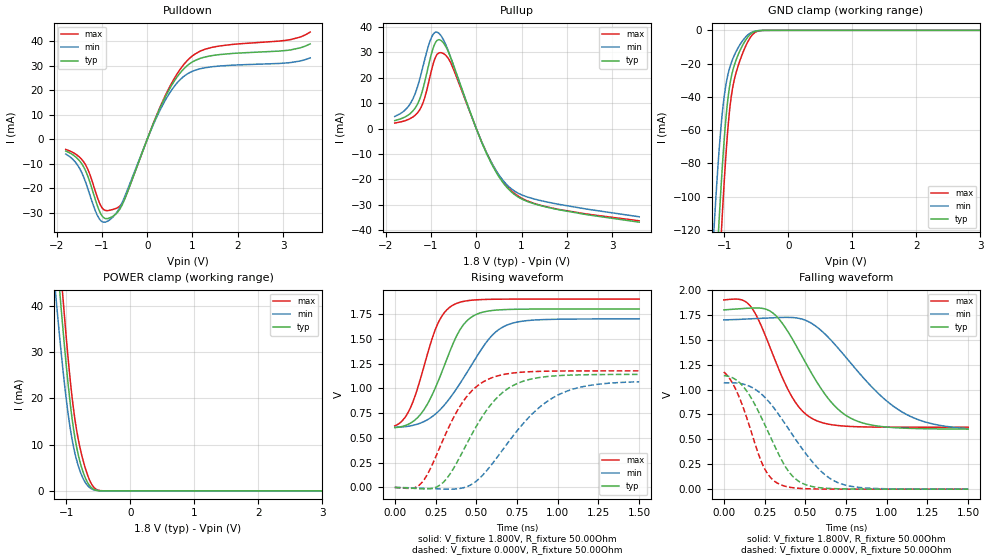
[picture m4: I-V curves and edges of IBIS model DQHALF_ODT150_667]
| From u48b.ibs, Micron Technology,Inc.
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|MODEL DQHALF_ODT150_667 (Reduced-Drv IO Drvr with 150-ohm ODT Submodel,667)
[Model]   DQHALF_ODT150_667
Model_type   I/O
Vinl = 700.000mV
Vinh = 1.10V
Vmeas = 900.000mV
Vref = 900.000mV
Cref = 0.0pF
Rref = 25.000Ohm
|   typ   min   max
C_comp   3.09pF   2.91pF   3.33pF
| Note: C_comp decreases when the ODT circuit is enabled.
[Model Spec]
| Input threshold voltage corners
Vinl   0.70V   0.650V   0.750V
Vinh   1.10V   1.05V   1.150V
| Measurement voltage corners
Vmeas   0.900V   0.850V   0.950V
| Timing spec test load voltage corners
Vref   0.900V   0.850V   0.950V
[Receiver Thresholds]
Vth   =  0.900V
Vth_min  =  0.882V
Vth_max  =  0.918V
Vinh_ac  =  0.200V
Vinh_dc  =  0.125V
Vinl_ac  = -0.200V
Vinl_dc  = -0.125V
Tslew_ac =  5.000ns |Not specified, so set to high value
Threshold_sensitivity = 0.50
Reference_supply Pullup_ref
[Voltage Range]   1.800V   1.700V   1.900V
[Pullup Reference]   1.800V   1.700V   1.900V
| Junction Temperature (Ambient temp is 25C typ, 85C min, 0C max)
[Temperature Range]   40.0   100.0   0.0
[Add Submodel]
| Submodel Name   Mode
150ohm_ODT_667   Non-Driving
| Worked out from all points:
|   slope of the pulldown table from 0 to 0.27 V, typ, clamps not added: 22 ohm
|   slope of the pullup table from 0 to 0.27 V, typ, clamps not added: 23.7 ohm
|   GND clamp passes 1 mA (typ) near -0.54 V on its own axis
|   POWER clamp passes 1 mA (typ) near -0.63 V on its own axis
|   falling waveform, V_fixture 1.800V, R_fixture 50.00Ohm: 20-80 % time 275ps typ, 381ps min, 209ps max; typ from 1.8 V to 0.603 V
|   rising waveform, V_fixture 1.800V, R_fixture 50.00Ohm: 20-80 % time 189ps typ, 269ps min, 148ps max; typ from 0.603 V to 1.8 V
|   rising waveform, V_fixture 0.000V, R_fixture 50.00Ohm: 20-80 % time 259ps typ, 337ps min, 223ps max; typ from 0 V to 1.14 V
|   falling waveform, V_fixture 0.000V, R_fixture 50.00Ohm: 20-80 % time 208ps typ, 287ps min, 151ps max; typ from 1.14 V to 0 V
[Pulldown]
|   Voltage   I(typ)   I(min)   I(max)
-1.8V     -4.83mA    -6.06mA    -4.162mA
-1.565V   -7.504mA   -9.892mA   -6.301mA
-1.385V   -12.01mA   -16.39mA   -9.793mA
-1.05V    -29.61mA   -32.78mA   -26.27mA
-935mV    -32.38mA   -33.93mA   -29.07mA
-790mV    -31.85mA   -32.39mA   -28.89mA
-510mV    -25.06mA   -24.06mA   -24.73mA
375mV     16.39mA    15.14mA    16.89mA
885mV     30.12mA    26.7mA     32.19mA
1.425V    34.19mA    29.63mA    37.55mA
3.095V    36.36mA    31.22mA    40.53mA
3.6V      39mA       33.26mA    43.82mA
[GND Clamp]
|   Voltage   I(typ)   I(min)   I(max)
-1.8V     -732.2mA   -643.1mA   -793.5mA
-1.16V    -171.3mA   -118.1mA   -209.8mA
-1.085V   -116.2mA   -73.6mA    -149.7mA
-1.045V   -89.91mA   -54.84mA   -120mA
-1.035V   -83.83mA   -50.82mA   -112.9mA
-970mV    -50.56mA   -31.51mA   -71.89mA
-930mV    -36.76mA   -24.38mA   -52.64mA
-890mV    -27.7mA    -19.36mA   -39.2mA
-780mV    -14.23mA   -10.13mA   -20.78mA
-595mV    -2.419mA   -1.638mA   -4.347mA
-385mV    -24.16uA   -28.43uA   -37.4uA
3.6V      0A         0A         0A
[Pullup]
|   Voltage   I(typ)   I(min)   I(max)
-1.8V     3.119mA    4.738mA    2.154mA
-1.475V   5.66mA     9.302mA    3.771mA
-1.25V    11.55mA    19.37mA    7.36mA
-1.01V    28.03mA    34.94mA    21.35mA
-860mV    34.72mA    37.88mA    29.25mA
-720mV    33.59mA    34.77mA    29.45mA
-565mV    27.91mA    27.98mA    25.91mA
130mV     -5.849mA   -5.684mA   -5.641mA
455mV     -17.64mA   -17.02mA   -17.1mA
710mV     -23.79mA   -22.71mA   -23.25mA
1.495V    -30.66mA   -28.64mA   -30.54mA
3.6V      -36.85mA   -34.72mA   -36.31mA
[POWER Clamp]
|   Voltage   I(typ)   I(min)   I(max)
-1.8V     174.6mA    152.1mA    190.2mA
-1.165V   53.73mA    42.23mA    61.99mA
-1.105V   43.44mA    33.31mA    50.92mA
-1.09V    40.94mA    31.19mA    48.23mA
-1.055V   35.28mA    26.43mA    42.08mA
-950mV    20.21mA    14.51mA    25.43mA
-860mV    11.01mA    7.788mA    14.92mA
-740mV    4.151mA    2.748mA    6.683mA
-610mV    726.3uA    481uA      1.577mA
-540mV    173.2uA    136.5uA    408.6uA
-395mV    4.004uA    6.066uA    6.606uA
3.6V      0A         0A         0A
[Ramp]
R_load = 50.00Ohm
|   typ   min   max
dV/dt_r   684.091mV/258.751ps 639.530mV/336.791ps 705.583mV/222.831ps
dV/dt_f   718.092mV/275.076ps 655.544mV/380.712ps 767.167mV/208.828ps
[Falling Waveform]
V_fixture = 1.800V
V_fixture_min = 1.700V
V_fixture_max = 1.900V
R_fixture = 50.00Ohm
|   Time   V(typ)   V(min)   V(max)
0s        1.8V       1.7V       1.9V
160ps     1.818V     1.71V      1.844V
300ps     1.771V     1.721V     1.357V
430ps     1.481V     1.722V     895.6mV
550ps     1.133V     1.653V     702.4mV
700ps     804.4mV    1.419V     638.9mV
840ps     671mV      1.149V     625.9mV
1ns       623.5mV    885.1mV    622.4mV
1.14ns    610.6mV    734.7mV    621.7mV
1.5ns     603.2mV    607.4mV    621.4mV
[Rising Waveform]
V_fixture = 1.800V
V_fixture_min = 1.700V
V_fixture_max = 1.900V
R_fixture = 50.00Ohm
|   Time   V(typ)   V(min)   V(max)
0s        603.2mV    607.4mV    621.4mV
90ps      643.3mV    619.3mV    782mV
180ps     785.6mV    665.3mV    1.226V
270ps     1.087V     771mV      1.672V
360ps     1.459V     950.7mV    1.841V
420ps     1.638V     1.099V     1.876V
480ps     1.728V     1.258V     1.89V
590ps     1.783V     1.521V     1.898V
690ps     1.795V     1.638V     1.899V
1.5ns     1.8V       1.7V       1.9V
[Rising Waveform]
V_fixture = 0.000V
V_fixture_min = 0.000V
V_fixture_max = 0.000V
R_fixture = 50.00Ohm
|   Time   V(typ)   V(min)   V(max)
0s        -4.176uV   -1.689uV   -4.199uV
150ps     -12.29mV   -6.261mV   23.56mV
200ps     -14.73mV   -9.351mV   131.9mV
280ps     26.4mV     -14.72mV   417.9mV
420ps     371.6mV    -3.45mV    868.3mV
570ps     793.2mV    181.2mV    1.089V
740ps     1.04V      549mV      1.157V
980ps     1.125V     913.4mV    1.174V
1.18ns    1.137V     1.025V     1.176V
1.5ns     1.14V      1.066V     1.176V
[Falling Waveform]
V_fixture = 0.000V
V_fixture_min = 0.000V
V_fixture_max = 0.000V
R_fixture = 50.00Ohm
|   Time   V(typ)   V(min)   V(max)
0s        1.14V      1.066V     1.176V
70ps      1.104V     1.067V     1.013V
140ps     987.2mV    1.045V     721.4mV
250ps     652.6mV    925.3mV    206.4mV
340ps     339.9mV    742.8mV    51.18mV
460ps     79.1mV     454.2mV    8.584mV
590ps     14.8mV     191.1mV    1.504mV
700ps     4.2mV      65.91mV    417.7uV
900ps     699.6uV    9.077mV    63.41uV
1.5ns     -4.176uV   -1.689uV   -4.199uV
